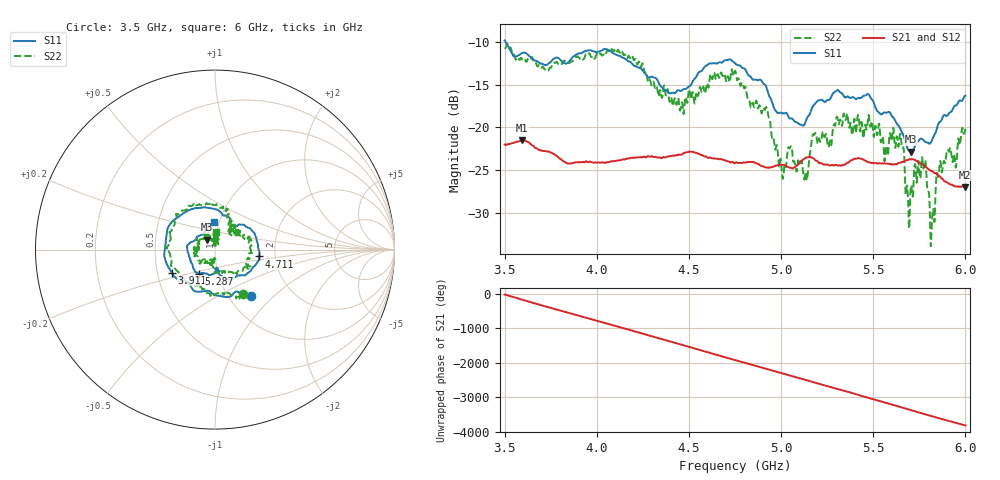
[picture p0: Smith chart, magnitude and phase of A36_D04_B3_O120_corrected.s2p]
! Created with skrf 1.9.0 (http://scikit-rf.org).
# Hz S RI R 50.0
!freq ReS11 ImS11 ReS21 ImS21 ReS12 ImS12 ReS22 ImS22
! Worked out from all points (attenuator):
!   1601 points, 3.5 GHz to 6 GHz, reference 50 ohm
!   highest |S21| = -21.51 dB at 3.592 GHz (marker M1); lowest = -27.0 dB at 5.995 GHz (marker M2)
!   lowest |S11| = -22.8 dB at 5.706 GHz (marker M3), VSWR 1.16, Z = 45.3 + j5 ohm
!   |S11| at or under -10 dB: 3.507 GHz to end of sweep
!   |S22| runs from -34.0 to -10.2 dB; largest |S21 - S12| = 0.00099
!   S11 on the Smith chart (normalised r, x): 3.5 GHz: 1.27, -0.72; 3.911 GHz: 0.60, -0.17; 4.711 GHz: 1.65, -0.13; 5.287 GHz: 0.81, -0.22; 6 GHz: 0.94, +0.30
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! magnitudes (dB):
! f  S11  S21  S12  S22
! 3.5 GHz  -9.8  -22.0  -22.0  -10.7
! 3.592 GHz  -11.3  -21.5  -21.5  -11.9
! 3.911 GHz  -11.3  -24.1  -24.0  -12.0
! 3.917 GHz  -11.3  -24.1  -24.0  -11.9
! 4.127 GHz  -11.6  -23.9  -23.8  -11.2
! 4.334 GHz  -14.7  -23.5  -23.5  -16.3
! 4.711 GHz  -12.1  -24.0  -23.9  -14.0
! 4.75 GHz  -12.4  -24.2  -24.1  -13.4
! 4.927 GHz  -15.7  -24.7  -24.7  -18.1
! 5.002 GHz  -18.2  -24.4  -24.4  -24.5
! 5.134 GHz  -19.2  -23.5  -23.5  -25.4
! 5.167 GHz  -17.7  -23.6  -23.5  -21.4
! 5.287 GHz  -15.9  -24.5  -24.4  -19.6
! 5.584 GHz  -18.2  -24.3  -24.2  -22.0
! 5.655 GHz  -20.5  -24.1  -24.0  -22.2
! 5.686 GHz  -22.5  -23.8  -23.8  -27.4
! 5.706 GHz  -22.8  -23.8  -23.7  -26.8
! 5.773 GHz  -21.5  -24.5  -24.4  -24.7
! 5.822 GHz  -21.3  -25.1  -25.1  -29.9
! 5.855 GHz  -19.5  -25.6  -25.6  -25.7
! 5.995 GHz  -16.3  -27.0  -26.9  -20.6
! 6 GHz  -16.3  -27.0  -26.9  -20.2
